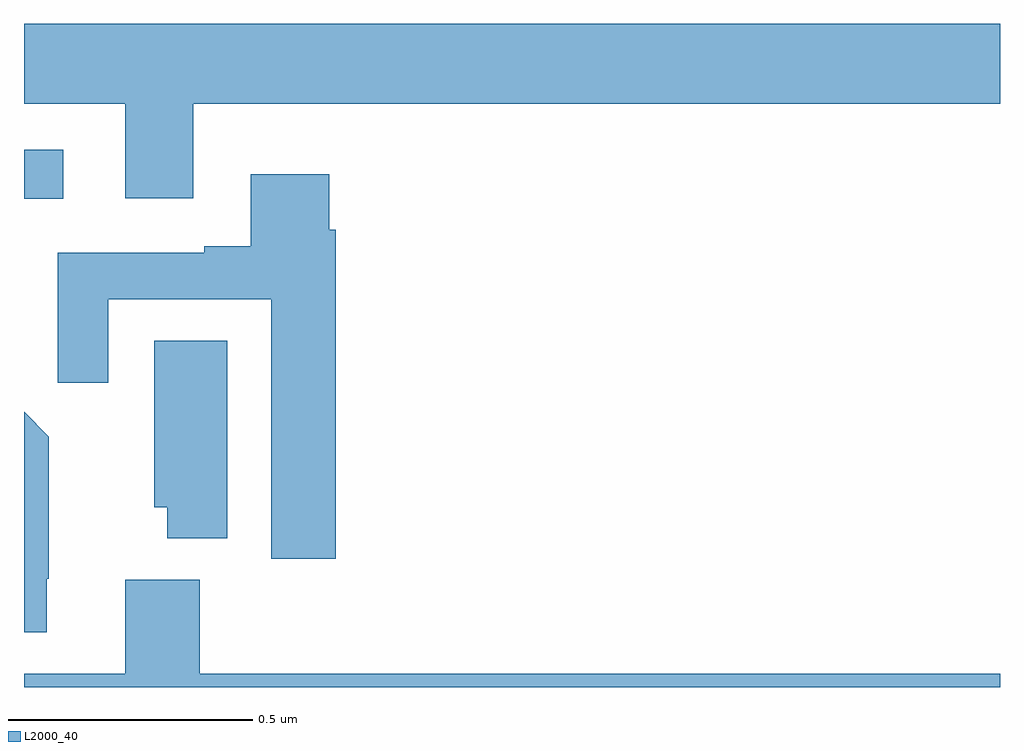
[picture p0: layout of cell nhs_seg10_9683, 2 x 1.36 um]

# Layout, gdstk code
import gdstk
lib = gdstk.Library(unit=1e-6, precision=1e-09)
def R(c, l, rs):  # rectangles x0, y0, x1, y1
    for r in rs: c.add(gdstk.rectangle(r[:2], r[2:], *l))
def P(c, l, *ps):  # polygons
    for p in ps: c.add(gdstk.Polygon(p, *l))
L2000_40 = (2000, 40)

nhs_seg10_9683 = lib.new_cell('nhs_seg10_9683')
R(nhs_seg10_9683, L2000_40, [(233,1253.501,233.08,1253.602)])
P(nhs_seg10_9683, L2000_40, [(233.347,1253.696),(235,1253.696),(235,1253.86),(233,1253.86),(233,1253.696),(233.207,1253.696),(233.207,1253.502),(233.347,1253.502)],
  [(233.639,1253.438),(233.626,1253.438),(233.626,1253.551),(233.465,1253.551),(233.465,1253.404),(233.369,1253.404),(233.369,1253.391),(233.069,1253.391),(233.069,1253.124),(233.173,1253.124),(233.173,1253.295),(233.507,1253.295),(233.507,1252.764),(233.639,1252.764)],
  [(233.416,1253.21),(233.267,1253.21),(233.267,1252.869),(233.294,1252.869),(233.294,1252.805),(233.416,1252.805)],
  [(233.047,1252.723),(233.051,1252.723),(233.051,1253.014),(233,1253.065),(233,1252.613),(233.047,1252.613)],
  [(235,1252.528),(233.36,1252.528),(233.36,1252.72),(233.207,1252.72),(233.207,1252.528),(233,1252.528),(233,1252.5),(235,1252.5)])

lib.write_gds('nhs_seg10_9683.gds')
